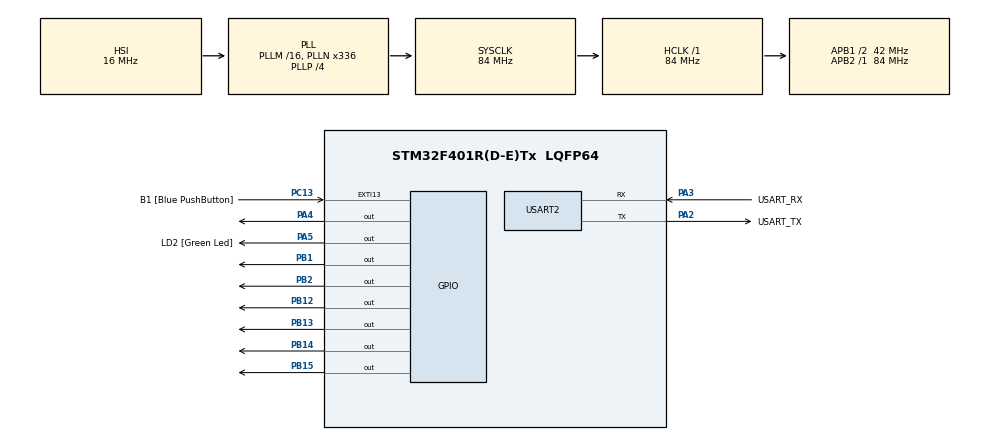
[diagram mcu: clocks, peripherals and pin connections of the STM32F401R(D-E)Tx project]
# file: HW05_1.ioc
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Dma.Request0=USART2_RX
Dma.USART2_RX.0.Direction=DMA_PERIPH_TO_MEMORY
Dma.USART2_RX.0.FIFOMode=DMA_FIFOMODE_DISABLE
Dma.USART2_RX.0.Instance=DMA1_Stream5
Dma.USART2_RX.0.MemDataAlignment=DMA_MDATAALIGN_BYTE
Dma.USART2_RX.0.MemInc=DMA_MINC_ENABLE
Dma.USART2_RX.0.Mode=DMA_NORMAL
Dma.USART2_RX.0.PeriphDataAlignment=DMA_PDATAALIGN_BYTE
Dma.USART2_RX.0.PeriphInc=DMA_PINC_DISABLE
Dma.USART2_RX.0.Priority=DMA_PRIORITY_HIGH
Mcu.Family=STM32F4
Mcu.Name=STM32F401R(D-E)Tx
Mcu.Package=LQFP64
NVIC.DMA1_Stream5_IRQn=true\:0\:0\:false\:false\:true\:false\:true\:true
NVIC.PriorityGroup=NVIC_PRIORITYGROUP_4
NVIC.USART2_IRQn=true\:0\:0\:false\:false\:true\:true\:true\:true
PA13.GPIO_Label=TMS
PA13.Mode=Trace_Asynchronous_SW
PA13.Signal=SYS_JTMS-SWDIO
PA14.GPIO_Label=TCK
PA14.Mode=Trace_Asynchronous_SW
PA14.Signal=SYS_JTCK-SWCLK
PA2.GPIO_Label=USART_TX
PA2.GPIO_Mode=GPIO_MODE_AF_PP
PA2.GPIO_PuPd=GPIO_NOPULL
PA2.GPIO_Speed=GPIO_SPEED_FREQ_LOW
PA2.Mode=Asynchronous
PA2.Signal=USART2_TX
PA3.GPIO_Label=USART_RX
PA3.GPIO_Mode=GPIO_MODE_AF_PP
PA3.GPIO_PuPd=GPIO_NOPULL
PA3.GPIO_Speed=GPIO_SPEED_FREQ_LOW
PA3.Mode=Asynchronous
PA3.Signal=USART2_RX
PA4.Signal=GPIO_Output
PA5.GPIO_Label=LD2 [Green Led]
PA5.GPIO_Mode=GPIO_MODE_OUTPUT_PP
PA5.GPIO_PuPd=GPIO_NOPULL
PA5.GPIO_Speed=GPIO_SPEED_FREQ_LOW
PA5.Signal=GPIO_Output
PB1.Signal=GPIO_Output
PB12.Signal=GPIO_Output
PB13.Signal=GPIO_Output
PB14.Signal=GPIO_Output
PB15.Signal=GPIO_Output
PB2.Signal=GPIO_Output
PB3.GPIO_Label=SWO
PB3.Mode=Trace_Asynchronous_SW
PB3.Signal=SYS_JTDO-SWO
PC13-ANTI_TAMP.GPIO_Label=B1 [Blue PushButton]
PC13-ANTI_TAMP.GPIO_ModeDefaultEXTI=GPIO_MODE_IT_FALLING
PC13-ANTI_TAMP.GPIO_PuPd=GPIO_NOPULL
PC13-ANTI_TAMP.Signal=GPXTI13
PC14-OSC32_IN.Mode=LSE-External-Oscillator
PC14-OSC32_IN.Signal=RCC_OSC32_IN
PC15-OSC32_OUT.Mode=LSE-External-Oscillator
PC15-OSC32_OUT.Signal=RCC_OSC32_OUT
PH0\ -\ OSC_IN.Mode=HSE-External-Clock-Source
PH0\ -\ OSC_IN.Signal=RCC_OSC_IN
PH1\ -\ OSC_OUT.Mode=HSE-External-Clock-Source
PH1\ -\ OSC_OUT.Signal=RCC_OSC_OUT
ProjectManager.HeapSize=0x200
ProjectManager.StackSize=0x400
ProjectManager.TargetToolchain=STM32CubeIDE
RCC.48MHZClocksFreq_Value=48000000
RCC.AHBFreq_Value=84000000
RCC.APB1CLKDivider=RCC_HCLK_DIV2
RCC.APB1Freq_Value=42000000
RCC.APB1TimFreq_Value=84000000
RCC.APB2Freq_Value=84000000
RCC.APB2TimFreq_Value=84000000
RCC.CortexFreq_Value=84000000
RCC.HCLKFreq_Value=84000000
RCC.HSE_VALUE=8000000
RCC.HSI_VALUE=16000000
RCC.PLLN=336
RCC.PLLP=RCC_PLLP_DIV4
RCC.PLLQ=7
RCC.SYSCLKFreq_VALUE=84000000
RCC.SYSCLKSource=RCC_SYSCLKSOURCE_PLLCLK
RCC.VCOOutputFreq_Value=336000000
USART2.VirtualMode=VM_ASYNC
board=NUCLEO-F401RE

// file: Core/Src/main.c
/* USER CODE BEGIN Header */
/**
  ******************************************************************************
  * @file           : main.c
  * @brief          : Main program body
  ******************************************************************************
  * @attention
  *
  * Copyright (c) 2026 STMicroelectronics.
  * All rights reserved.
  *
  * This software is licensed under terms that can be found in the LICENSE file
  * in the root directory of this software component.
  * If no LICENSE file comes with this software, it is provided AS-IS.
  *
  ******************************************************************************
  */
/* USER CODE END Header */
#include "main.h"

/* USER CODE BEGIN Includes */
#include "PMDB16_LCD.h"
#include "stdio.h"
#include "string.h"

/* USER CODE END Includes */

/* USER CODE BEGIN PD */
#define LCDLINE 16   // caratteri per riga dell'LCD
#define BUFFER  32   // caratteri finestra scorrevole (2 righe piene)
/* USER CODE END PD */

UART_HandleTypeDef huart2;
DMA_HandleTypeDef hdma_usart2_rx;

/* USER CODE BEGIN PV */
char buffer[BUFFER + 1];     // 33 byte (non 32) per contenere il carattere di terminazione ('\r'/'\n')
char row0[LCDLINE + 1];      // prima riga LCD (17 e non 16 per contenere il terminatore '\0')
char row1[LCDLINE + 1];      // seconda riga LCD (17 e non 16 per contenere il terminatore '\0')

volatile int i=0;            // i tiene conto di dove siamo nel buffer
// i = indice della prossima posizione libera
// i = lunghezza della stringa ricevuta finora (quando arriva il terminatore)
// volatile perchè è letta e scritta da una ISR

/* USER CODE END PV */

void SystemClock_Config(void);
static void MX_GPIO_Init(void);
static void MX_DMA_Init(void);
static void MX_USART2_UART_Init(void);

/* USER CODE BEGIN 0 */
void HAL_UART_RxCpltCallback(UART_HandleTypeDef *huart)
{
    if (huart->Instance != USART2)
    {
        return;
    }
    // Callback scatta ogni volta che DMA scrive un nuovo byte in buffer[i]
    // quindi buffer[i] contiene l'ultimo carattere arrivato

    if (buffer[i] == '\r' || buffer[i] == '\n')
    {
    	// Se buffer[i], ovvero l'ultimo carattere inviato, è un terminatore,
    	// tutto buffer[0:i-1] deve essere scritto sull'LCD

        lcd_clear(); // Quindi puliamo

        if (i > LCDLINE)   // stringa più lunga di una riga -> split su due righe
        {
            int secondLen = i - LCDLINE; // lunghezza seconda riga

            memcpy(row0, &buffer[0], LCDLINE); // row0 prende i primi 16 caratteri = buffer[0:15]
            row0[LCDLINE] = '\0'; // row0[0:15]=stringa, row0[16]=terminatore

            memcpy(row1, &buffer[LCDLINE], secondLen); // row1 prende i secondLen caratteri rimanenti = buffer[16:i]
            row1[secondLen] = '\0';

            lcd_println(row0, 0);
            lcd_println(row1, 1);
        }
        else   // stringa corta -> una riga sola
        {
            buffer[i] = '\0';   // sostituisce il '\r' col terminatore C
            lcd_println(buffer, 0);
        }

        memset(buffer, 0, sizeof(buffer)); //Resettiamo il buffer e i
        i = 0;
    }
    else if (i == BUFFER) // buffer[32] è stata appena scritta da un carattere che non è il terminatore
    {
        // buffer pieno: fa scorrere la finestra di un carattere,
        // tenendo solo gli ultimi BUFFER caratteri ricevuti
        memmove(&buffer[0], &buffer[1], BUFFER);
        // memmove(destinazione, sorgente, n° bytes)
        // memmove copia BUFFER (32) bytes dalla posizione &buffer[1] a &buffer[0] (shift a sx)
        // questa cosa continua finchè non incontriamo un terminatore, a quel punto ricadiamo
        // nei casi sopra e stampiamo
    }
    else
    {
        // Non abbiamo incontrato il carattere terminatore e nemmeno riempito il Buffer
    	// l'utente sta ancora digitando, aggiorniamo i
    	i++;
    }

    // Ci rimettiamo in ascolto
    // per ricevere 1 byte, da scrivere in buffer[i]
    // HAL_UART_Receive_DMA(*huart, dove scrivere, n° byte da ricevere)
    HAL_UART_Receive_DMA(&huart2, (uint8_t *)&buffer[i], 1);
}

/* USER CODE END 0 */

int main(void)
{

  /* MCU Configuration--------------------------------------------------------*/

  /* Reset of all peripherals, Initializes the Flash interface and the Systick. */
  HAL_Init();

  /* Configure the system clock */
  SystemClock_Config();

  /* Initialize all configured peripherals */
  MX_GPIO_Init();
  MX_DMA_Init();
  MX_USART2_UART_Init();
  /* USER CODE BEGIN 2 */
  lcd_initialize();
  lcd_backlight_ON();

  // Avvio la Ricezione
  HAL_UART_Receive_DMA(&huart2, (uint8_t *)&buffer[i], 1);

  /* USER CODE END 2 */

  /* Infinite loop */
  while (1)
  {

  }
}

void SystemClock_Config(void)
{
  RCC_OscInitTypeDef RCC_OscInitStruct = {0};
  RCC_ClkInitTypeDef RCC_ClkInitStruct = {0};

  /** Configure the main internal regulator output voltage
  */
  __HAL_RCC_PWR_CLK_ENABLE();
  __HAL_PWR_VOLTAGESCALING_CONFIG(PWR_REGULATOR_VOLTAGE_SCALE2);

  /** Initializes the RCC Oscillators according to the specified parameters
  * in the RCC_OscInitTypeDef structure.
  */
  RCC_OscInitStruct.OscillatorType = RCC_OSCILLATORTYPE_HSI;
  RCC_OscInitStruct.HSIState = RCC_HSI_ON;
  RCC_OscInitStruct.HSICalibrationValue = RCC_HSICALIBRATION_DEFAULT;
  RCC_OscInitStruct.PLL.PLLState = RCC_PLL_ON;
  RCC_OscInitStruct.PLL.PLLSource = RCC_PLLSOURCE_HSI;
  RCC_OscInitStruct.PLL.PLLM = 16;
  RCC_OscInitStruct.PLL.PLLN = 336;
  RCC_OscInitStruct.PLL.PLLP = RCC_PLLP_DIV4;
  RCC_OscInitStruct.PLL.PLLQ = 7;
  if (HAL_RCC_OscConfig(&RCC_OscInitStruct) != HAL_OK)
  {
    Error_Handler();
  }

  /** Initializes the CPU, AHB and APB buses clocks
  */
  RCC_ClkInitStruct.ClockType = RCC_CLOCKTYPE_HCLK|RCC_CLOCKTYPE_SYSCLK
                              |RCC_CLOCKTYPE_PCLK1|RCC_CLOCKTYPE_PCLK2;
  RCC_ClkInitStruct.SYSCLKSource = RCC_SYSCLKSOURCE_PLLCLK;
  RCC_ClkInitStruct.AHBCLKDivider = RCC_SYSCLK_DIV1;
  RCC_ClkInitStruct.APB1CLKDivider = RCC_HCLK_DIV2;
  RCC_ClkInitStruct.APB2CLKDivider = RCC_HCLK_DIV1;

  if (HAL_RCC_ClockConfig(&RCC_ClkInitStruct, FLASH_LATENCY_2) != HAL_OK)
  {
    Error_Handler();
  }
}

static void MX_USART2_UART_Init(void)
{

  huart2.Instance = USART2;
  huart2.Init.BaudRate = 115200;
  huart2.Init.WordLength = UART_WORDLENGTH_8B;
  huart2.Init.StopBits = UART_STOPBITS_1;
  huart2.Init.Parity = UART_PARITY_NONE;
  huart2.Init.Mode = UART_MODE_TX_RX;
  huart2.Init.HwFlowCtl = UART_HWCONTROL_NONE;
  huart2.Init.OverSampling = UART_OVERSAMPLING_16;
  if (HAL_UART_Init(&huart2) != HAL_OK)
  {
    Error_Handler();
  }

}

static void MX_DMA_Init(void)
{

  /* DMA controller clock enable */
  __HAL_RCC_DMA1_CLK_ENABLE();

  /* DMA interrupt init */
  /* DMA1_Stream5_IRQn interrupt configuration */
  HAL_NVIC_SetPriority(DMA1_Stream5_IRQn, 0, 0);
  HAL_NVIC_EnableIRQ(DMA1_Stream5_IRQn);

}

static void MX_GPIO_Init(void)
{
  GPIO_InitTypeDef GPIO_InitStruct = {0};

  /* GPIO Ports Clock Enable */
  __HAL_RCC_GPIOC_CLK_ENABLE();
  __HAL_RCC_GPIOH_CLK_ENABLE();
  __HAL_RCC_GPIOA_CLK_ENABLE();
  __HAL_RCC_GPIOB_CLK_ENABLE();

  /*Configure GPIO pin Output Level */
  HAL_GPIO_WritePin(GPIOA, GPIO_PIN_4|LD2_Pin, GPIO_PIN_RESET);

  /*Configure GPIO pin Output Level */
  HAL_GPIO_WritePin(GPIOB, GPIO_PIN_1|GPIO_PIN_2|GPIO_PIN_12|GPIO_PIN_13
                          |GPIO_PIN_14|GPIO_PIN_15, GPIO_PIN_RESET);

  /*Configure GPIO pin : B1_Pin */
  GPIO_InitStruct.Pin = B1_Pin;
  GPIO_InitStruct.Mode = GPIO_MODE_IT_FALLING;
  GPIO_InitStruct.Pull = GPIO_NOPULL;
  HAL_GPIO_Init(B1_GPIO_Port, &GPIO_InitStruct);

  /*Configure GPIO pins : PA4 LD2_Pin */
  GPIO_InitStruct.Pin = GPIO_PIN_4|LD2_Pin;
  GPIO_InitStruct.Mode = GPIO_MODE_OUTPUT_PP;
  GPIO_InitStruct.Pull = GPIO_NOPULL;
  GPIO_InitStruct.Speed = GPIO_SPEED_FREQ_LOW;
  HAL_GPIO_Init(GPIOA, &GPIO_InitStruct);

  /*Configure GPIO pins : PB1 PB2 PB12 PB13
                           PB14 PB15 */
  GPIO_InitStruct.Pin = GPIO_PIN_1|GPIO_PIN_2|GPIO_PIN_12|GPIO_PIN_13
                          |GPIO_PIN_14|GPIO_PIN_15;
  GPIO_InitStruct.Mode = GPIO_MODE_OUTPUT_PP;
  GPIO_InitStruct.Pull = GPIO_NOPULL;
  GPIO_InitStruct.Speed = GPIO_SPEED_FREQ_LOW;
  HAL_GPIO_Init(GPIOB, &GPIO_InitStruct);

}

void Error_Handler(void)
{
  __disable_irq();
  while (1)
  {
  }
}
